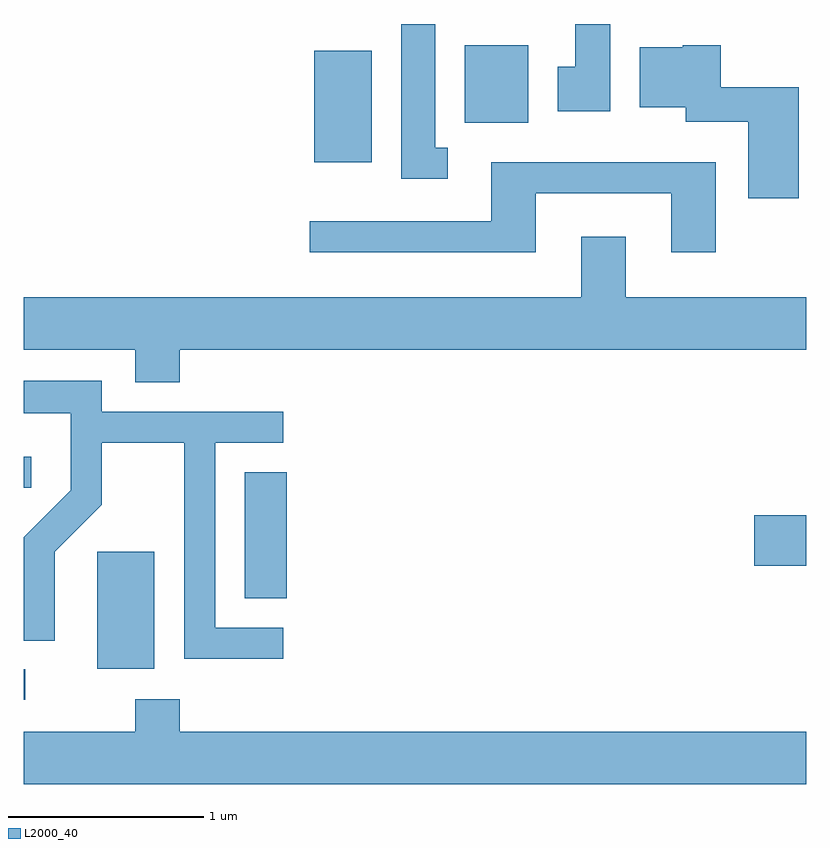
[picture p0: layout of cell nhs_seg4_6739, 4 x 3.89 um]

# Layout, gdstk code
import gdstk
lib = gdstk.Library(unit=1e-6, precision=1e-09)
def R(c, l, rs):  # rectangles x0, y0, x1, y1
    for r in rs: c.add(gdstk.rectangle(r[:2], r[2:], *l))
def P(c, l, *ps):  # polygons
    for p in ps: c.add(gdstk.Polygon(p, *l))
L2000_40 = (2000, 40)

nhs_seg4_6739 = lib.new_cell('nhs_seg4_6739')
R(nhs_seg4_6739, L2000_40, [(383.611,1268.526,383.618,1268.684), (383.986,1268.686,384.279,1269.284), (384.741,1269.046,384.954,1269.689), (387.346,1269.211,387.611,1269.469), (383.611,1269.611,383.648,1269.769), (385.096,1271.276,385.389,1271.844), (385.866,1271.476,386.189,1271.874)])
P(nhs_seg4_6739, L2000_40, [(385.778,1271.349),(385.714,1271.349),(385.714,1271.982),(385.541,1271.982),(385.541,1271.191),(385.778,1271.191)],
  [(386.609,1271.982),(386.431,1271.982),(386.431,1271.764),(386.341,1271.764),(386.341,1271.536),(386.609,1271.536)],
  [(387.574,1271.659),(387.174,1271.659),(387.174,1271.874),(386.98,1271.874),(386.98,1271.864),(386.761,1271.864),(386.761,1271.556),(386.996,1271.556),(386.996,1271.481),(387.316,1271.481),(387.316,1271.091),(387.574,1271.091)],
  [(386.229,1271.116),(386.921,1271.116),(386.921,1270.816),(387.149,1270.816),(387.149,1271.274),(386.001,1271.274),(386.001,1270.974),(385.073,1270.974),(385.073,1270.816),(386.229,1270.816)],
  [(384.409,1270.316),(387.611,1270.316),(387.611,1270.584),(386.689,1270.584),(386.689,1270.894),(386.461,1270.894),(386.461,1270.584),(383.611,1270.584),(383.611,1270.316),(384.181,1270.316),(384.181,1270.151),(384.409,1270.151)],
  [(384.938,1268.894),(384.589,1268.894),(384.589,1269.841),(384.938,1269.841),(384.938,1269.999),(384.009,1269.999),(384.009,1270.159),(383.611,1270.159),(383.611,1269.991),(383.851,1269.991),(383.851,1269.597),(383.611,1269.357),(383.611,1268.828),(383.769,1268.828),(383.769,1269.284),(384.009,1269.524),(384.009,1269.841),(384.431,1269.841),(384.431,1268.736),(384.938,1268.736)],
  [(387.611,1268.364),(384.409,1268.364),(384.409,1268.529),(384.181,1268.529),(384.181,1268.364),(383.611,1268.364),(383.611,1268.096),(387.611,1268.096)])

lib.write_gds('nhs_seg4_6739.gds')
